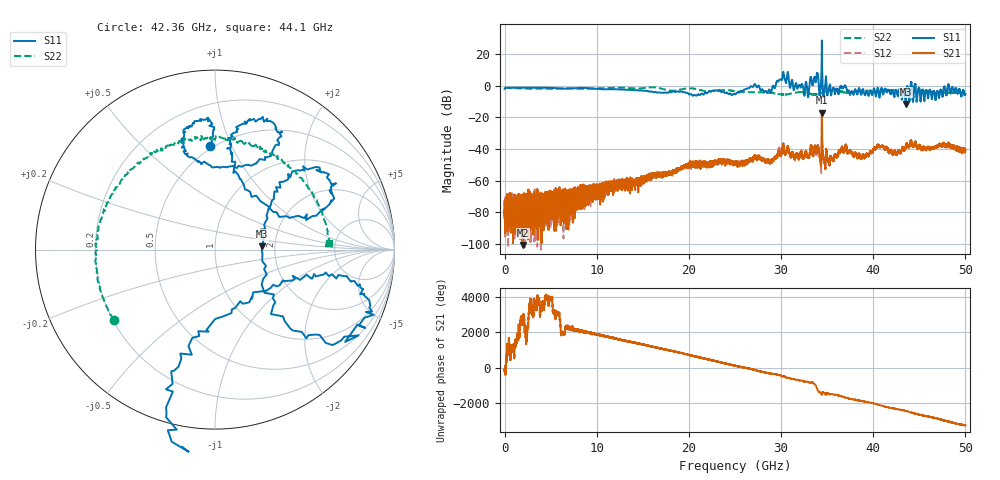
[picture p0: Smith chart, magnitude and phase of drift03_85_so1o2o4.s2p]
!Created with skrf (http://scikit-rf.org).
# Hz S RI R 50.0
!freq ReS11 ImS11 ReS21 ImS21 ReS12 ImS12 ReS22 ImS22
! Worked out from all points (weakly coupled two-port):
!   10000 points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, 5.3 MHz to 50 GHz, reference 50 ohm
!   highest |S21| = -17.17 dB at 34.43 GHz (marker M1); lowest = -100.7 dB at 1.955 GHz (marker M2)
!   lowest |S11| = -11.7 dB at 43.52 GHz (marker M3), VSWR 1.71, Z = 85.1 + j3.31 ohm
!   |S11| at or under -10 dB: 43.48369 GHz to 43.54431 GHz (60.62 MHz wide, 0.139 % of centre); 44.30501 GHz to 44.31728 GHz (12.27 MHz wide, 0.0277 % of centre); 44.7022 GHz to 44.71166 GHz (9.464 MHz wide, 0.0212 % of centre) (the widest 3 of 7)
!   |S22| runs from -5.8 to -1.1 dB; largest |S21 - S12| = 0.033
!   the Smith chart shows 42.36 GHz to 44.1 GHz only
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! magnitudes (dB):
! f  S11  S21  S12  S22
! 5.3 MHz  -2.1  -78.4  -84.2  -1.3
! 1.955 GHz  -1.3  -100.7  -76.4  -1.9
! 4.915 GHz  -1.4  -75.7  -78.6  -2.1
! 8.34 GHz  -1.5  -67.5  -71.4  -2.1
! 16.67 GHz  -4.4  -56.3  -56.6  -1.4
! 20.27 GHz  -5.5  -48.6  -51.0  -1.8
! 25.01 GHz  -5.5  -48.6  -49.1  -3.5
! 27.02 GHz  -0.3  -45.0  -45.4  -4.2
! 28.72 GHz  -2.5  -47.7  -48.8  -4.5
! 30.14 GHz  4.6  -39.9  -40.5  -5.7
! 32.74 GHz  2.0  -42.3  -41.9  -4.6
! 33.34 GHz  2.6  -39.4  -40.2  -5.5
! 33.82 GHz  4.0  -41.6  -41.9  -5.7
! 34.43 GHz  28.5  -17.2  -18.9  -4.5
! 35.34 GHz  -0.7  -45.0  -45.2  -3.2
! 36.84 GHz  -0.7  -41.9  -41.8  -4.2
! 38.86 GHz  -2.4  -43.7  -44.0  -3.2
! 40.6 GHz  -4.6  -37.6  -38.4  -4.0
! 41.67 GHz  -2.9  -42.3  -42.0  -3.3
! 43.52 GHz  -11.7  -38.9  -38.6  -4.1
! 48.33 GHz  -4.4  -37.9  -37.9  -4.5
! 50 GHz  -5.2  -41.0  -41.4  -4.5
